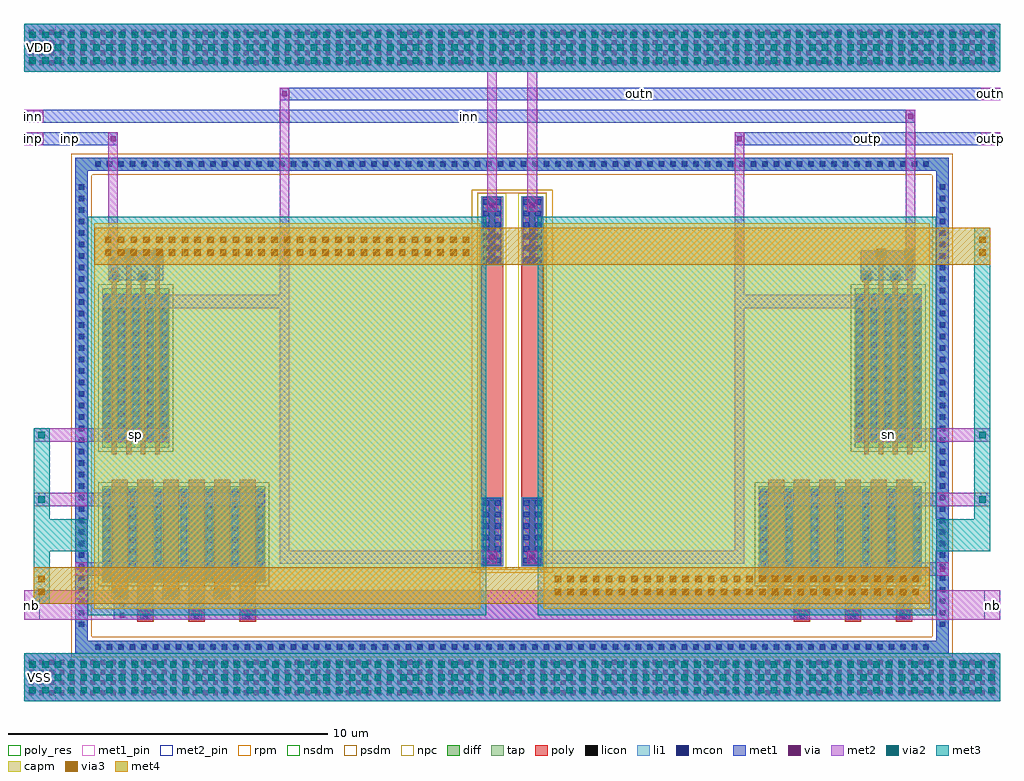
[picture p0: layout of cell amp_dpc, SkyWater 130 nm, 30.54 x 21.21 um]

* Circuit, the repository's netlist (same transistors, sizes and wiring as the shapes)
* amp_dpc: xschem/amp_dpc.sch with {'w': 20, 'l': 0.15, 'rl': 4000.0, 'wt': 6, 'mt': 6, 'mm': 0, 'cs': 6e-13} (lay.write_ref)
** sch_path: /foss/designs/ook/xschem/amp_dpc.sch
.subckt amp_dpc inp inn nb outp outn VDD VSS
*.PININFO VDD:B VSS:B nb:B inp:B inn:B outp:B outn:B
XRl_p outn VDD VSS sky130_fd_pr__res_high_po_0p69 L=7.37736 mult=1
XMp outn inp sp VSS sky130_fd_pr__nfet_01v8 L=0.15 W=20 nf=4
XMtail_p sp nb VSS VSS sky130_fd_pr__nfet_01v8 L=0.5 W=6 nf=2 m=3
XRl_n outp VDD VSS sky130_fd_pr__res_high_po_0p69 L=7.37736 mult=1
XMn outp inn sn VSS sky130_fd_pr__nfet_01v8 L=0.15 W=20 nf=4
XMtail_n sn nb VSS VSS sky130_fd_pr__nfet_01v8 L=0.5 W=6 nf=2 m=3
XCs_a sn sp sky130_fd_pr__cap_mim_m3_1 W=12.0678 L=12.0678
XCs_b sp sn sky130_fd_pr__cap_mim_m3_1 W=12.0678 L=12.0678
.ends

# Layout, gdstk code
import gdstk
lib = gdstk.Library(unit=1e-6, precision=1e-09)
def R(c, l, rs):  # rectangles x0, y0, x1, y1
    for r in rs: c.add(gdstk.rectangle(r[:2], r[2:], *l))
def A(c, l, x, y, w, h, nx, ny, dx, dy):  # array of equal rectangles
    R(c, l, [(x+i*dx, y+j*dy, x+i*dx+w, y+j*dy+h) for i in range(nx) for j in range(ny)])
def P(c, l, *ps):  # polygons
    for p in ps: c.add(gdstk.Polygon(p, *l))
diff = (65, 20)
tap = (65, 44)
poly_res = (66, 13)
poly = (66, 20)
licon = (66, 44)
li1 = (67, 20)
mcon = (67, 44)
met1_pin = (68, 16)
met1 = (68, 20)
via = (68, 44)
met2_pin = (69, 16)
met2 = (69, 20)
via2 = (69, 44)
met3 = (70, 20)
via3 = (70, 44)
met4 = (71, 20)
rpm = (86, 20)
capm = (89, 44)
nsdm = (93, 44)
psdm = (94, 20)
npc = (95, 20)

nfet = lib.new_cell('nfet')
R(nfet, diff, [(0,0,5.1,3)])
A(nfet, poly, 1.1, -1.23, 0.5, 0.33, 3, 1, 1.6, 0)
A(nfet, poly, 1.1, -0.9, 0.5, 4.1, 3, 1, 1.6, 0)
A(nfet, poly, 0.3, -0.53, 0.5, 0.33, 3, 1, 1.6, 0)
A(nfet, poly, 0.3, -0.2, 0.5, 3.4, 3, 1, 1.6, 0)
A(nfet, licon, 1.265, -1.15, 0.17, 0.17, 3, 1, 1.6, 0)
A(nfet, licon, 0.465, -0.45, 0.17, 0.17, 3, 1, 1.6, 0)
A(nfet, licon, 0.065, 0.155, 0.17, 0.17, 7, 8, 0.8, 0.36)
A(nfet, li1, 1.185, -1.15, 0.33, 0.17, 3, 1, 1.6, 0)
A(nfet, li1, 0.385, -0.45, 0.33, 0.17, 3, 1, 1.6, 0)
A(nfet, li1, 0.065, 0.075, 0.17, 2.85, 7, 1, 0.8, 0)
A(nfet, mcon, 1.265, -1.15, 0.17, 0.17, 3, 1, 1.6, 0)
A(nfet, mcon, 0.465, -0.45, 0.17, 0.17, 3, 1, 1.6, 0)
A(nfet, mcon, 0.065, 0.155, 0.17, 0.17, 7, 8, 0.8, 0.36)
A(nfet, met1, 1.165, -1.18, 0.37, 0.23, 3, 1, 1.6, 0)
A(nfet, met1, 0.365, -0.48, 0.37, 0.23, 3, 1, 1.6, 0)
A(nfet, met1, 0.035, 0.095, 0.23, 2.81, 7, 1, 0.8, 0)
R(nfet, nsdm, [(-0.125,-0.125,5.225,3.125)])
A(nfet, npc, 1.09, -1.24, 0.52, 0.35, 3, 1, 1.6, 0)
A(nfet, npc, 0.29, -0.54, 0.52, 0.35, 3, 1, 1.6, 0)

nfet_1 = lib.new_cell('nfet$1')
R(nfet_1, diff, [(0,0,2.1,5)])
R(nfet_1, poly, [(0.3,-0.2,0.45,5.2), (0.75,-0.2,0.9,5.9), (1.2,-0.2,1.35,5.2), (1.65,-0.2,1.8,5.9), (0.24,5.2,0.51,5.53), (1.14,5.2,1.41,5.53), (0.69,5.9,0.96,6.23), (1.59,5.9,1.86,6.23)])
A(nfet_1, licon, 0.065, 0.255, 0.17, 0.17, 5, 13, 0.45, 0.36)
R(nfet_1, licon, [(0.29,5.28,0.46,5.45), (1.19,5.28,1.36,5.45), (0.74,5.98,0.91,6.15), (1.64,5.98,1.81,6.15)])
A(nfet_1, li1, 0.065, 0.175, 0.17, 4.65, 5, 1, 0.45, 0)
R(nfet_1, li1, [(0.21,5.28,0.54,5.45), (1.11,5.28,1.44,5.45), (0.66,5.98,0.99,6.15), (1.56,5.98,1.89,6.15)])
A(nfet_1, mcon, 0.065, 0.255, 0.17, 0.17, 5, 13, 0.45, 0.36)
R(nfet_1, mcon, [(0.29,5.28,0.46,5.45), (1.19,5.28,1.36,5.45), (0.74,5.98,0.91,6.15), (1.64,5.98,1.81,6.15)])
A(nfet_1, met1, 0.035, 0.195, 0.23, 4.61, 5, 1, 0.45, 0)
R(nfet_1, met1, [(0.19,5.25,0.56,5.48), (1.09,5.25,1.455,5.48), (0.64,5.95,1.01,6.18), (1.54,5.95,1.905,6.18)])
R(nfet_1, nsdm, [(-0.125,-0.125,2.225,5.125)])
R(nfet_1, npc, [(0.23,5.19,0.52,5.54), (1.13,5.19,1.42,5.54), (0.68,5.89,0.97,6.24), (1.58,5.89,1.87,6.24)])

res_poly = lib.new_cell('res_poly')
R(res_poly, poly_res, [(-0.345,-3.69,0.345,3.69)])
R(res_poly, poly, [(-0.345,-5.79,0.345,5.79)])
R(res_poly, licon, [(-0.095,-5.71,0.095,-3.71), (-0.095,3.71,0.095,5.71)])
R(res_poly, li1, [(-0.345,-5.79,0.345,-3.63), (-0.345,3.63,0.345,5.79)])
A(res_poly, mcon, -0.265, -5.69, 0.17, 0.17, 1, 6, 0, 0.36)
A(res_poly, mcon, 0.095, -5.69, 0.17, 0.17, 1, 6, 0, 0.36)
A(res_poly, mcon, -0.265, 3.725, 0.17, 0.17, 1, 6, 0, 0.36)
A(res_poly, mcon, 0.095, 3.725, 0.17, 0.17, 1, 6, 0, 0.36)
R(res_poly, met1, [(-0.295,-5.755,0.295,-3.655), (-0.295,3.655,0.295,5.755)])
R(res_poly, rpm, [(-0.635,-5.99,0.635,5.99)])
R(res_poly, psdm, [(-0.455,-5.9,0.455,5.9)])
R(res_poly, npc, [(-0.44,-5.88,0.44,5.88)])

amp_dpc = lib.new_cell('amp_dpc')
P(amp_dpc, tap, [(1.6,1.5),(1.6,16.61),(2,16.61),(2,1.9),(28.54,1.9),(28.54,16.61),(1.6,16.61),(1.6,17.01),(28.94,17.01),(28.94,1.5)])
A(amp_dpc, licon, 2.225, 1.615, 0.17, 0.17, 73, 2, 0.36, 15.11)
A(amp_dpc, licon, 1.715, 2.33, 0.17, 0.17, 1, 39, 0, 0.36)
A(amp_dpc, licon, 28.655, 2.33, 0.17, 0.17, 1, 39, 0, 0.36)
P(amp_dpc, li1, [(1.6,1.5),(1.6,16.61),(2,16.61),(2,1.9),(28.54,1.9),(28.54,16.61),(1.6,16.61),(1.6,17.01),(28.94,17.01),(28.94,1.5)])
A(amp_dpc, mcon, 2.225, 1.615, 0.17, 0.17, 73, 2, 0.36, 15.11)
A(amp_dpc, mcon, 1.715, 2.33, 0.17, 0.17, 1, 39, 0, 0.36)
A(amp_dpc, mcon, 28.655, 2.33, 0.17, 0.17, 1, 39, 0, 0.36)
R(amp_dpc, met1_pin, [(0,0,1,1.5), (0,19.71,1,21.21)])
A(amp_dpc, met1, 2.45, 3.93, 0.3, 0.42, 4, 1, 1.6, 0)
A(amp_dpc, met1, 22.99, 3.93, 0.3, 0.42, 4, 1, 1.6, 0)
A(amp_dpc, met1, 3.25, 6.11, 0.3, 0.42, 3, 1, 1.6, 0)
A(amp_dpc, met1, 23.79, 6.11, 0.3, 0.42, 3, 1, 1.6, 0)
A(amp_dpc, met1, 2.45, 8.13, 0.3, 0.42, 3, 1, 0.9, 0)
A(amp_dpc, met1, 25.99, 8.13, 0.3, 0.42, 3, 1, 0.9, 0)
R(amp_dpc, met1, [(0,0,30.54,1.5), (1.6,1.49,28.94,1.9), (2.815,2.55,27.725,3.48), (14.395,4.265,14.895,6.365), (15.655,4.265,16.155,6.365), (2.9,12.31,3.2,12.73), (3.8,12.31,4.1,12.73), (26.44,12.31,26.74,12.73), (27.34,12.31,27.64,12.73), (2.64,13.18,4.355,14.11), (26.18,13.18,27.895,14.11), (14.395,13.675,14.895,15.775), (15.655,13.675,16.155,15.775), (0,17.41,2.94,17.81), (22.24,17.41,30.54,17.81), (0,18.11,27.895,18.51), (8,18.81,30.54,19.21), (0,19.71,30.54,21.21)])
P(amp_dpc, met1, [(1.6,1.5),(1.6,16.61),(2,16.61),(2,1.9),(28.54,1.9),(28.54,16.61),(1.6,16.61),(1.6,17.01),(28.94,17.01),(28.94,1.5)])
A(amp_dpc, via, 0.155, 0.195, 0.15, 0.15, 95, 4, 0.32, 0.32)
A(amp_dpc, via, 2.99, 2.62, 0.15, 0.15, 1, 3, 0, 0.32)
A(amp_dpc, via, 27.4, 2.62, 0.15, 0.15, 1, 3, 0, 0.32)
A(amp_dpc, via, 2.525, 4.065, 0.15, 0.15, 4, 1, 1.6, 0)
A(amp_dpc, via, 23.065, 4.065, 0.15, 0.15, 4, 1, 1.6, 0)
A(amp_dpc, via, 3.325, 6.245, 0.15, 0.15, 3, 1, 1.6, 0)
A(amp_dpc, via, 23.865, 6.245, 0.15, 0.15, 3, 1, 1.6, 0)
A(amp_dpc, via, 2.525, 8.265, 0.15, 0.15, 3, 1, 0.9, 0)
A(amp_dpc, via, 26.065, 8.265, 0.15, 0.15, 3, 1, 0.9, 0)
A(amp_dpc, via, 0.155, 19.905, 0.15, 0.15, 95, 4, 0.32, 0.32)
R(amp_dpc, via, [(1.725,4.065,1.875,4.215), (28.665,4.065,28.815,4.215), (14.57,4.44,14.72,4.59), (15.83,4.44,15.98,4.59), (2.975,12.445,3.125,12.595), (3.875,12.445,4.025,12.595), (26.515,12.445,26.665,12.595), (27.415,12.445,27.565,12.595), (2.715,13.41,2.865,13.56), (27.67,13.41,27.82,13.56), (2.715,13.73,2.865,13.88), (27.67,13.73,27.82,13.88), (14.57,15.45,14.72,15.6), (15.83,15.45,15.98,15.6), (0.225,17.535,0.375,17.685), (2.715,17.535,2.865,17.685), (22.315,17.535,22.465,17.685), (30.165,17.535,30.315,17.685), (0.225,18.235,0.375,18.385), (27.67,18.235,27.82,18.385), (8.075,18.935,8.225,19.085), (30.165,18.935,30.315,19.085)])
R(amp_dpc, met2_pin, [(0,2.55,0.5,3.48), (30.04,2.55,30.54,3.48), (0,17.41,0.6,17.81), (29.94,17.41,30.54,17.81), (0,18.11,0.6,18.51), (29.94,18.81,30.54,19.21)])
R(amp_dpc, met2, [(0,0,30.54,1.5), (0,2.55,30.54,3.48), (1.6,3.93,7.55,4.35), (22.99,3.93,28.94,4.35), (8,4.315,14.795,4.715), (8,4.315,8.3,19.21), (15.755,4.315,22.54,4.715), (22.24,4.315,22.54,17.81), (0.3,6.11,7.55,6.53), (2.45,6.11,7.55,6.53), (22.99,6.11,28.09,6.53), (22.99,6.11,30.24,6.53), (0.3,8.13,4.55,8.55), (2.45,8.13,4.55,8.55), (25.99,8.13,28.09,8.55), (25.99,8.13,30.24,8.55), (2.45,12.31,8.15,12.73), (22.39,12.31,28.09,12.73), (2.64,13.18,2.94,17.81), (27.595,13.18,27.895,18.51), (14.495,15.325,14.795,19.72), (15.755,15.325,16.055,19.72), (0,17.41,0.6,17.81), (29.94,17.41,30.54,17.81), (0,18.11,0.6,18.51), (29.94,18.81,30.54,19.21), (0,19.71,30.54,21.21)])
A(amp_dpc, via2, 0.17, 0.25, 0.2, 0.2, 76, 3, 0.4, 0.4)
A(amp_dpc, via2, 0.17, 19.96, 0.2, 0.2, 76, 3, 0.4, 0.4)
R(amp_dpc, via2, [(0.45,6.22,0.65,6.42), (0.45,6.22,0.65,6.42), (29.89,6.22,30.09,6.42), (29.89,6.22,30.09,6.42), (0.45,8.24,0.65,8.44), (29.89,8.24,30.09,8.44)])
R(amp_dpc, met3, [(0,0,30.54,1.5), (2,2.7,14.47,15.17), (16.07,2.7,28.54,15.17), (0.3,3.05,0.8,6.53), (0.3,3.05,0.8,8.55), (0.3,3.05,0.8,8.55), (0.3,4.7,2,5.7), (28.54,4.7,30.24,5.7), (29.74,4.7,30.24,14.82), (29.74,6.11,30.24,14.82), (29.74,6.11,30.24,14.82), (0,19.71,30.54,21.21)])
A(amp_dpc, via3, 16.605, 3.325, 0.2, 0.2, 29, 2, 0.4, 0.4)
A(amp_dpc, via3, 2.535, 13.945, 0.2, 0.2, 29, 2, 0.4, 0.4)
R(amp_dpc, via3, [(0.45,3.325,0.65,3.525), (0.45,3.725,0.65,3.925), (29.89,13.945,30.09,14.145), (29.89,14.345,30.09,14.545)])
R(amp_dpc, met4, [(0.3,3.05,28.34,4.2), (2.2,13.67,30.24,14.82)])
R(amp_dpc, capm, [(2.2,2.9,14.27,14.97), (16.27,2.9,28.34,14.97)])
R(amp_dpc, psdm, [(14.19,4.12,16.36,15.92)])
P(amp_dpc, psdm, [(1.475,1.375),(1.475,16.485),(2.125,16.485),(2.125,2.025),(28.415,2.025),(28.415,16.485),(1.475,16.485),(1.475,17.135),(29.065,17.135),(29.065,1.375)])
amp_dpc.add(gdstk.Reference(nfet, (2.45,3.73)))
amp_dpc.add(gdstk.Reference(nfet_1, (2.45,7.93)))
amp_dpc.add(gdstk.Reference(nfet, (22.99,3.73)))
amp_dpc.add(gdstk.Reference(nfet_1, (25.99,7.93)))
amp_dpc.add(gdstk.Reference(res_poly, (14.645,10.02)))
amp_dpc.add(gdstk.Reference(res_poly, (15.905,10.02)))
amp_dpc.add(gdstk.Label('VSS', (0.5,0.75), layer=68, texttype=5))
amp_dpc.add(gdstk.Label('VDD', (0.5,20.46), layer=68, texttype=5))
amp_dpc.add(gdstk.Label('inp', (1.47,17.61), layer=68, texttype=5))
amp_dpc.add(gdstk.Label('inn', (13.948,18.31), layer=68, texttype=5))
amp_dpc.add(gdstk.Label('outn', (19.27,19.01), layer=68, texttype=5))
amp_dpc.add(gdstk.Label('outp', (26.39,17.61), layer=68, texttype=5))
amp_dpc.add(gdstk.Label('nb', (0.25,3.015), layer=69, texttype=5))
amp_dpc.add(gdstk.Label('nb', (30.29,3.015), layer=69, texttype=5))
amp_dpc.add(gdstk.Label('sp', (3.5,8.34), layer=69, texttype=5))
amp_dpc.add(gdstk.Label('sn', (27.04,8.34), layer=69, texttype=5))
amp_dpc.add(gdstk.Label('inp', (0.3,17.61), layer=69, texttype=5))
amp_dpc.add(gdstk.Label('inn', (0.3,18.31), layer=69, texttype=5))
amp_dpc.add(gdstk.Label('outn', (30.24,19.01), layer=69, texttype=5))
amp_dpc.add(gdstk.Label('outp', (30.24,17.61), layer=69, texttype=5))

lib.write_gds('amp_dpc.gds')
